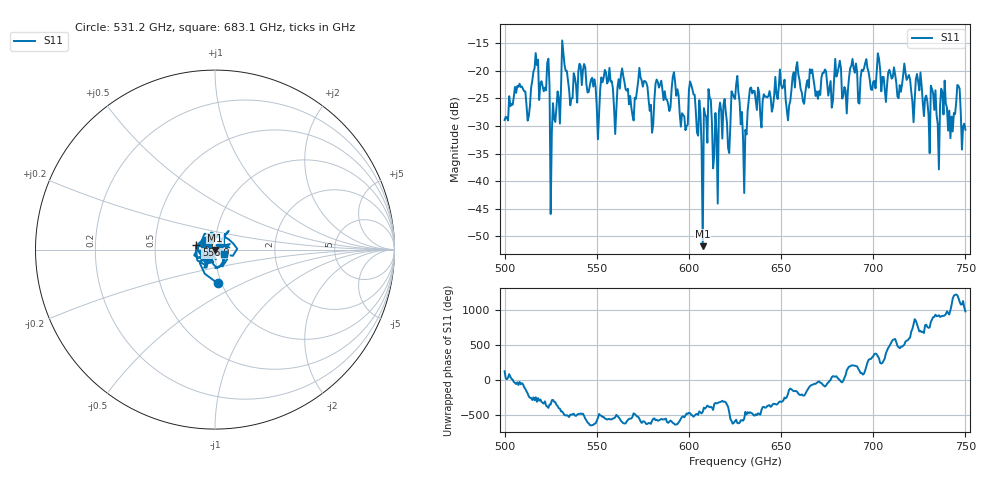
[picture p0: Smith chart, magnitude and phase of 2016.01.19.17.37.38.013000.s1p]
!Created with skrf (http://scikit-rf.org).
# GHz S RI R 50.0
!freq ReS11 ImS11
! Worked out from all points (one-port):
!   401 points, 500 GHz to 750 GHz, reference 50 ohm
!   lowest |S11| = -51.8 dB at 607.5 GHz (marker M1), VSWR 1.01, Z = 50 - j0.257 ohm
!   |S11| at or under -10 dB: start of sweep to end of sweep
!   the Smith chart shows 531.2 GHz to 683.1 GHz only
!   S11 on the Smith chart (normalised r, x): 531.2 GHz: 0.96, -0.37; 556.9 GHz: 0.81, +0.04; 683.1 GHz: 1.10, -0.06
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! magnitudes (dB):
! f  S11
! 500 GHz  -28.9
! 513.1 GHz  -28.2
! 516.9 GHz  -16.8
! 523.1 GHz  -18.6
! 526.2 GHz  -25.9
! 531.2 GHz  -14.5
! 550.6 GHz  -32.4
! 556.9 GHz  -19.5
! 560 GHz  -31.4
! 562.5 GHz  -23.2
! 579.4 GHz  -26.1
! 583.1 GHz  -22.0
! 593.8 GHz  -23.3
! 598.1 GHz  -30.7
! 601.9 GHz  -23.3
! 607.5 GHz  -51.8
! 610.6 GHz  -23.3
! 614.4 GHz  -27.6
! 625 GHz  -25.1
! 630 GHz  -42.2
! 634.4 GHz  -24.1
! 656.2 GHz  -21.0
! 683.1 GHz  -25.0
! 687.5 GHz  -19.5
! 718.8 GHz  -21.2
! 734.4 GHz  -28.0
! 746.2 GHz  -22.7
! 750 GHz  -30.7
